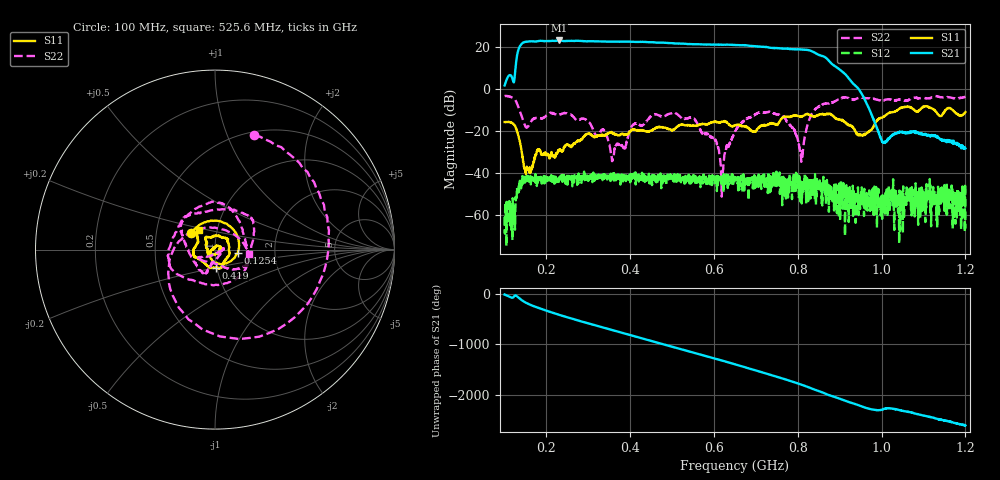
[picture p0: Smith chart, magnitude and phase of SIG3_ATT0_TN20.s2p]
# Hz S DB R 50
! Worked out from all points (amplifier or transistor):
!   1601 points, 100 MHz to 1.2 GHz, reference 50 ohm
!   highest |S21| = 23.1 dB at 229.2 MHz (marker M1)
!   |S21| within 3 dB of that: 135.9 MHz to 712.4 MHz (576.5 MHz wide, 136 % of centre)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
!   unconditionally stable (mu >= 1): start of sweep to end of sweep
!   at 282.9 MHz: K = 6.03, MAG = 23.0 dB, |S12| = -44.8 dB
!   at 650 MHz: K = 6.00, MAG = 21.0 dB, |S12| = -42.7 dB
!   at 1.2 GHz: K = 15229.61, MAG = -25.7 dB, |S12| = -66.7 dB
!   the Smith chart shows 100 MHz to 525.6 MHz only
!   S11 on the Smith chart (normalised r, x): 100 MHz: 0.75, +0.14; 125.4 MHz: 1.29, -0.05; 419 MHz: 0.99, -0.20; 525.6 MHz: 0.82, +0.18
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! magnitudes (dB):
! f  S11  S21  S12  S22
! 100 MHz  -15.8  1.6  -61.1  -3.4
! 125.4 MHz  -17.9  8.7  -61.5  -5.3
! 153.6 MHz  -37.3  22.5  -44.0  -18.5
! 180.4 MHz  -28.9  22.8  -41.7  -14.0
! 229.2 MHz  -29.6  23.1  -44.4  -12.4
! 283.6 MHz  -24.3  22.8  -44.8  -14.3
! 337.9 MHz  -22.3  22.6  -40.8  -20.0
! 357.8 MHz  -21.1  22.5  -42.6  -34.2
! 419 MHz  -19.9  22.4  -41.4  -17.0
! 467.1 MHz  -18.2  22.1  -42.9  -12.5
! 525.6 MHz  -17.1  21.6  -43.5  -14.3
! 601.9 MHz  -15.7  21.1  -43.0  -24.0
! 618.4 MHz  -15.8  21.0  -45.0  -51.4
! 650 MHz  -17.5  20.9  -42.7  -20.3
! 757.9 MHz  -15.0  19.3  -44.9  -12.4
! 808.1 MHz  -13.2  18.8  -50.5  -34.8
! 833.6 MHz  -12.9  18.0  -43.6  -11.8
! 951.8 MHz  -22.0  -2.2  -52.1  -4.2
! 1.001 GHz  -13.7  -25.1  -53.1  -5.5
! 1.017 GHz  -11.6  -23.8  -46.0  -5.0
! 1.144 GHz  -12.6  -24.4  -52.8  -4.1
! 1.2 GHz  -11.0  -28.4  -66.7  -3.8
